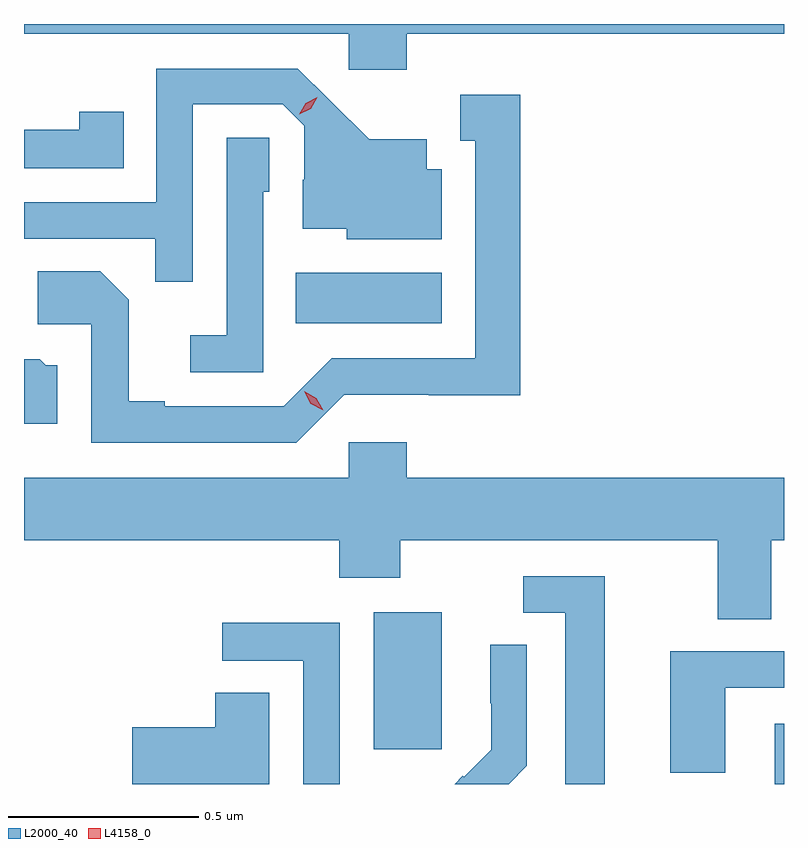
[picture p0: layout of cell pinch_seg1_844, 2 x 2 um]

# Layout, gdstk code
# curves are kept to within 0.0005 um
import gdstk
lib = gdstk.Library(unit=1e-6, precision=1e-09)
def R(c, l, rs):  # rectangles x0, y0, x1, y1
    for r in rs: c.add(gdstk.rectangle(r[:2], r[2:], *l))
def P(c, l, *ps):  # polygons
    for p in ps: c.add(gdstk.Polygon(p, *l))
L2000_40 = (2000, 40)
L4158_0 = (4158, 0)

pinch_seg1_844 = lib.new_cell('pinch_seg1_844')
R(pinch_seg1_844, L2000_40, [(470.795,571.161,470.974,571.522), (470.59,572.282,470.974,572.416)])
P(pinch_seg1_844, L2000_40, [(471.875,573.07),(469.875,573.07),(469.875,573.044),(470.73,573.044),(470.73,572.949),(470.882,572.949),(470.882,573.044),(471.875,573.044)],
  [(470.319,572.859),(470.556,572.859),(470.613,572.802),(470.613,572.66),(470.609,572.66),(470.609,572.531),(470.724,572.531),(470.724,572.504),(470.974,572.504),(470.974,572.688),(470.935,572.688),(470.935,572.767),(470.783,572.767),(470.596,572.952),(470.223,572.952),(470.223,572.601),(469.875,572.601),(469.875,572.505),(470.221,572.505),(470.221,572.392),(470.319,572.392)],
  [(470.718,572.094),(470.94,572.094),(470.94,572.093),(471.181,572.093),(471.181,572.884),(471.023,572.884),(471.023,572.763),(471.062,572.763),(471.062,572.19),(470.685,572.19),(470.559,572.064),(470.245,572.064),(470.245,572.077),(470.151,572.077),(470.151,572.344),(470.075,572.42),(469.911,572.42),(469.911,572.28),(470.052,572.28),(470.052,571.968),(470.592,571.968)],
  [(470.138,572.839),(470.02,572.839),(470.02,572.792),(469.875,572.792),(469.875,572.691),(470.138,572.691)],
  [(470.505,572.628),(470.52,572.628),(470.52,572.771),(470.409,572.771),(470.409,572.251),(470.313,572.251),(470.313,572.154),(470.505,572.154)],
  [(469.963,572.172),(469.932,572.172),(469.916,572.188),(469.875,572.188),(469.875,572.018),(469.963,572.018)],
  [(471.841,571.712),(471.875,571.712),(471.875,571.876),(470.882,571.876),(470.882,571.969),(470.73,571.969),(470.73,571.876),(469.875,571.876),(469.875,571.712),(470.705,571.712),(470.705,571.613),(470.865,571.613),(470.865,571.712),(471.701,571.712),(471.701,571.504),(471.841,571.504)],
  [(471.403,571.617),(471.189,571.617),(471.189,571.521),(471.299,571.521),(471.299,571.07),(471.403,571.07)],
  [(470.706,571.494),(470.397,571.494),(470.397,571.395),(470.61,571.395),(470.61,571.07),(470.706,571.07)],
  [(471.198,571.118),(471.198,571.436),(471.102,571.436),(471.102,571.282),(471.104,571.282),(471.104,571.16),(471.033,571.089),(471.03,571.092),(471.008,571.07),(471.15,571.07)],
  [(471.72,571.323),(471.875,571.323),(471.875,571.419),(471.575,571.419),(471.575,571.099),(471.72,571.099)],
  [(470.521,571.31),(470.378,571.31),(470.378,571.22),(470.16,571.22),(470.16,571.07),(470.521,571.07)],
  [(471.875,571.228),(471.851,571.228),(471.851,571.071),(471.85,571.07),(471.875,571.07)])
P(pinch_seg1_844, L4158_0, [(470.662,572.053),(470.63,572.071),(470.612,572.104),(470.612,572.104),(470.613,572.104),(470.644,572.085),(470.662,572.053),(470.662,572.053)],
  [(470.599,572.832),(470.599,572.833),(470.616,572.862),(470.647,572.877),(470.647,572.877),(470.647,572.877),(470.63,572.847),(470.599,572.832)])

lib.write_gds('pinch_seg1_844.gds')
